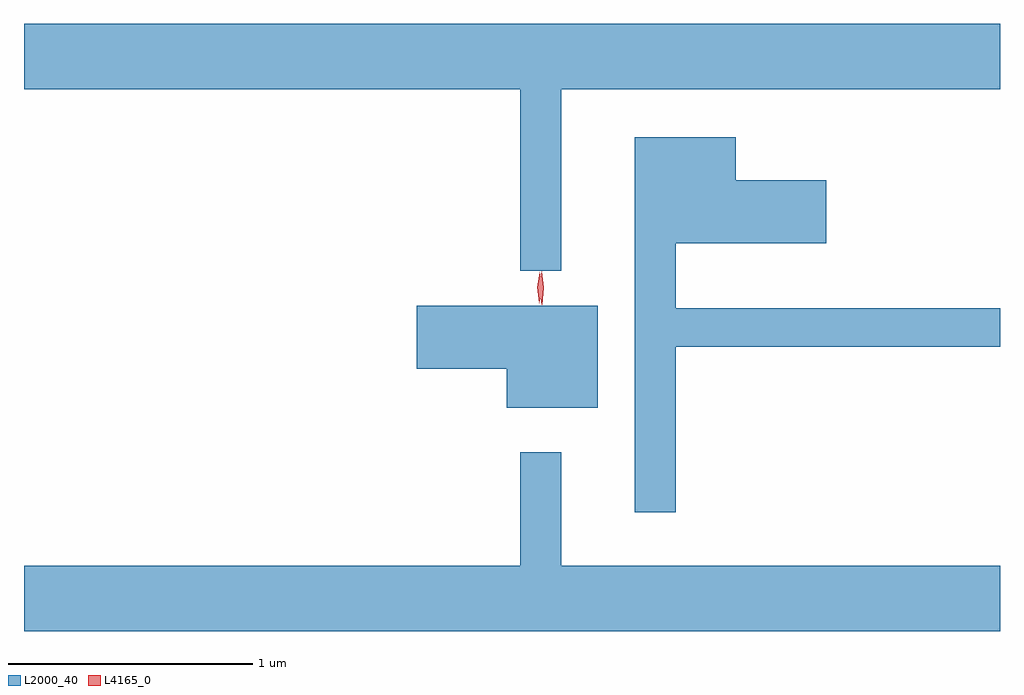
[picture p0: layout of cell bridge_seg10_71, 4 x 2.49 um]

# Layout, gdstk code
import gdstk
lib = gdstk.Library(unit=1e-6, precision=1e-09)
def P(c, l, *ps):  # polygons
    for p in ps: c.add(gdstk.Polygon(p, *l))
L2000_40 = (2000, 40)
L4165_0 = (4165, 0)

bridge_seg10_71 = lib.new_cell('bridge_seg10_71')
P(bridge_seg10_71, L2000_40, [(1549.369,2171.636),(1551.167,2171.636),(1551.167,2171.904),(1547.167,2171.904),(1547.167,2171.636),(1549.201,2171.636),(1549.201,2170.893),(1549.369,2170.893)],
  [(1549.839,2170.581),(1551.167,2170.581),(1551.167,2170.739),(1549.839,2170.739),(1549.839,2171.006),(1550.454,2171.006),(1550.454,2171.264),(1550.084,2171.264),(1550.084,2171.439),(1549.671,2171.439),(1549.671,2169.903),(1549.839,2169.903)],
  [(1549.519,2170.749),(1548.776,2170.749),(1548.776,2170.491),(1549.146,2170.491),(1549.146,2170.331),(1549.519,2170.331)],
  [(1551.167,2169.684),(1549.369,2169.684),(1549.369,2170.148),(1549.201,2170.148),(1549.201,2169.684),(1547.167,2169.684),(1547.167,2169.416),(1551.167,2169.416)])
P(bridge_seg10_71, L4165_0, [(1549.288,2170.754),(1549.279,2170.822),(1549.288,2170.89),(1549.288,2170.89),(1549.289,2170.89),(1549.298,2170.822),(1549.29,2170.754),(1549.289,2170.754)],
  [(1549.279,2170.76),(1549.278,2170.761),(1549.27,2170.824),(1549.28,2170.886),(1549.28,2170.887),(1549.281,2170.886),(1549.29,2170.823),(1549.279,2170.761)])

lib.write_gds('bridge_seg10_71.gds')
